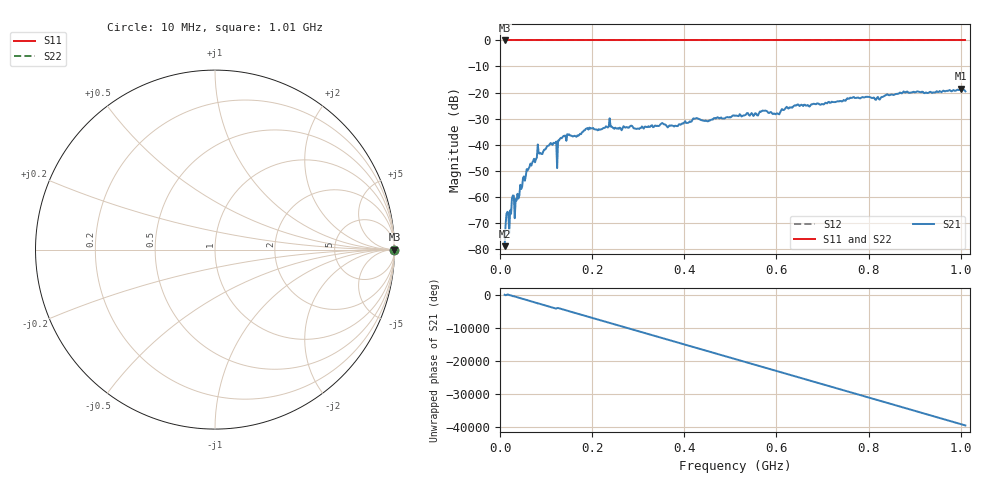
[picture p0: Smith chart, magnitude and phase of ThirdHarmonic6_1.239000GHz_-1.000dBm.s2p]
! 8/16/2025 1:09:12 PM
! C:\ANRITSUVNA\TEMP\TEMP.S2P
! CHANNEL.1
! TR.MEASUREMENT
! RAW.DATA
! RF.CORRECTION.OFF
! AVERAGING.OFF
! IF.BANDWIDTH: 5KHZ
! SWEEPTYPE:  FREQ.SWEEP(Linear)
! Reference Plane Port Info
! PORT:  PORT1  PORT2
! DISTANCE:  0  m  0  m
! TIME:  0  s  0  s
! PHASE.OFFSET:  0  deg.  0  deg.
! LOSS:  0  dB  0  dB
! REF.LOSS:  0  dB  0  dB
! REF.FREQ:  0  Hz  0  Hz
! Power Info
! POWER:  -20  dBm  -20  dBm
! EFF.POWER:  -20  dBm  -20  dBm
! SOURCE.ATTEN:  0  dB  0  dB
! TEST.ATTEN:  0  dB  0  dB
# GHZ S RI R 50.0
! FREQ.GHZ  S11RE  S11IM  S21RE  S21IM  S12RE  S12IM  S22RE  S22IM
!; PortSelection: Port_12
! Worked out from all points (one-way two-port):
!   501 points, 10 MHz to 1.01 GHz, reference 50 ohm
!   highest |S21| = -18.53 dB at 1 GHz (marker M1); lowest = -79.0 dB at 10 MHz (marker M2)
!   lowest |S11| = 0.0 dB at 10 MHz (marker M3)
!   |S11| at or under -10 dB: nowhere
!   |S22| runs from 0.0 to 0.0 dB; largest |S21 - S12| = 1.1
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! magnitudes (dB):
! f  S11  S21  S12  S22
! 10 MHz  0.0  -79.0  0.0  0.0
! 14 MHz  0.0  -66.6  0.0  0.0
! 22 MHz  0.0  -65.2  0.0  0.0
! 26 MHz  0.0  -60.5  0.0  0.0
! 36 MHz  0.0  -61.5  0.0  0.0
! 54 MHz  0.0  -53.9  0.0  0.0
! 84 MHz  0.0  -43.3  0.0  0.0
! 112 MHz  0.0  -39.7  0.0  0.0
! 124 MHz  0.0  -49.0  0.0  0.0
! 138 MHz  0.0  -36.7  0.0  0.0
! 178 MHz  0.0  -35.3  0.0  0.0
! 234 MHz  0.0  -33.4  0.0  0.0
! 262 MHz  0.0  -33.8  0.0  0.0
! 344 MHz  0.0  -32.9  0.0  0.0
! 510 MHz  0.0  -29.0  0.0  0.0
! 574 MHz  0.0  -27.0  0.0  0.0
! 602 MHz  0.0  -28.0  0.0  0.0
! 642 MHz  0.0  -25.0  0.0  0.0
! 678 MHz  0.0  -24.5  0.0  0.0
! 844 MHz  0.0  -21.0  0.0  0.0
! 1 GHz  0.0  -18.5  0.0  0.0
! 1.01 GHz  0.0  -19.5  0.0  0.0
